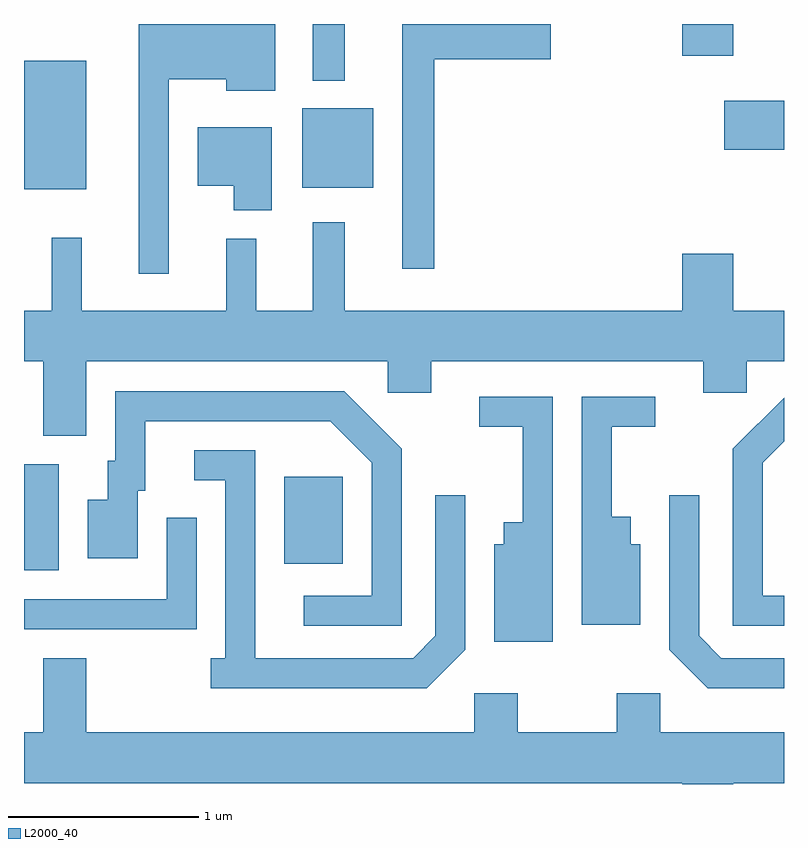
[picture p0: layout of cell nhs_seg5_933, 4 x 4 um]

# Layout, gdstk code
import gdstk
lib = gdstk.Library(unit=1e-6, precision=1e-09)
def R(c, l, rs):  # rectangles x0, y0, x1, y1
    for r in rs: c.add(gdstk.rectangle(r[:2], r[2:], *l))
def P(c, l, *ps):  # polygons
    for p in ps: c.add(gdstk.Polygon(p, *l))
L2000_40 = (2000, 40)

nhs_seg5_933 = lib.new_cell('nhs_seg5_933')
R(nhs_seg5_933, L2000_40, [(211.611,1511.196,211.794,1511.754), (212.981,1511.231,213.289,1511.689), (211.611,1513.201,211.939,1513.879), (213.076,1513.211,213.449,1513.629), (215.296,1513.411,215.611,1513.669), (213.131,1513.773,213.299,1514.072), (215.076,1513.906,215.344,1514.072)])
P(nhs_seg5_933, L2000_40, [(212.374,1513.781),(212.676,1513.781),(212.676,1513.721),(212.934,1513.721),(212.934,1514.072),(212.216,1514.072),(212.216,1512.758),(212.374,1512.758)],
  [(213.769,1513.886),(214.384,1513.886),(214.384,1514.072),(213.601,1514.072),(213.601,1512.783),(213.769,1512.783)],
  [(212.914,1513.529),(212.526,1513.529),(212.526,1513.221),(212.716,1513.221),(212.716,1513.091),(212.914,1513.091)],
  [(211.939,1512.296),(213.526,1512.296),(213.526,1512.131),(213.754,1512.131),(213.754,1512.296),(215.186,1512.296),(215.186,1512.131),(215.414,1512.131),(215.414,1512.296),(215.611,1512.296),(215.611,1512.564),(215.344,1512.564),(215.344,1512.864),(215.076,1512.864),(215.076,1512.564),(213.299,1512.564),(213.299,1513.028),(213.131,1513.028),(213.131,1512.564),(212.834,1512.564),(212.834,1512.943),(212.676,1512.943),(212.676,1512.564),(211.914,1512.564),(211.914,1512.948),(211.756,1512.948),(211.756,1512.564),(211.611,1512.564),(211.611,1512.296),(211.711,1512.296),(211.711,1511.906),(211.939,1511.906)],
  [(213.599,1511.837),(213.297,1512.139),(212.091,1512.139),(212.091,1511.774),(212.051,1511.774),(212.051,1511.569),(211.946,1511.569),(211.946,1511.261),(212.209,1511.261),(212.209,1511.616),(212.249,1511.616),(212.249,1511.981),(213.224,1511.981),(213.441,1511.764),(213.441,1511.064),(213.083,1511.064),(213.083,1510.906),(213.599,1510.906)],
  [(214.854,1511.334),(214.804,1511.334),(214.804,1511.479),(214.704,1511.479),(214.704,1511.951),(214.933,1511.951),(214.933,1512.109),(214.546,1512.109),(214.546,1510.911),(214.854,1510.911)],
  [(214.394,1512.109),(214.008,1512.109),(214.008,1511.951),(214.236,1511.951),(214.236,1511.449),(214.136,1511.449),(214.136,1511.334),(214.086,1511.334),(214.086,1510.821),(214.394,1510.821)],
  [(215.611,1511.064),(215.499,1511.064),(215.499,1511.764),(215.611,1511.875),(215.611,1512.106),(215.341,1511.837),(215.341,1510.906),(215.611,1510.906)],
  [(213.934,1510.779),(213.934,1511.593),(213.776,1511.593),(213.776,1510.852),(213.659,1510.734),(212.829,1510.734),(212.829,1511.829),(212.508,1511.829),(212.508,1511.671),(212.671,1511.671),(212.671,1510.734),(212.593,1510.734),(212.593,1510.576),(213.732,1510.576)],
  [(215.611,1510.734),(215.282,1510.734),(215.164,1510.852),(215.164,1511.593),(215.006,1511.593),(215.006,1510.779),(215.209,1510.576),(215.611,1510.576)],
  [(212.519,1511.473),(212.361,1511.473),(212.361,1511.044),(211.611,1511.044),(211.611,1510.886),(212.519,1510.886)],
  [(215.344,1510.076),(215.611,1510.076),(215.611,1510.344),(214.959,1510.344),(214.959,1510.549),(214.731,1510.549),(214.731,1510.344),(214.209,1510.344),(214.209,1510.549),(213.981,1510.549),(213.981,1510.344),(211.939,1510.344),(211.939,1510.734),(211.711,1510.734),(211.711,1510.344),(211.611,1510.344),(211.611,1510.076),(215.076,1510.076),(215.076,1510.072),(215.344,1510.072)])

lib.write_gds('nhs_seg5_933.gds')
